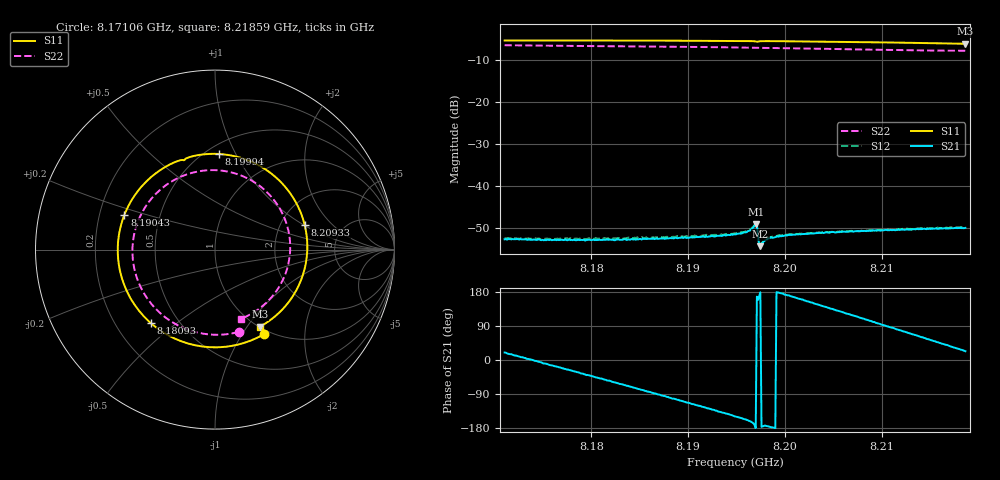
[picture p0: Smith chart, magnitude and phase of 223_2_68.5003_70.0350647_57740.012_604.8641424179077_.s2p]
#  HZ  S  RI  R  50.00
! Rohde & Schwarz Vector Network Analyzer
! Rohde-Schwarz,ZNB20-2Port,1311601062101988,3.16
! Created: UTC 3/20/2024, 4:58:37 PM
! freq[Hz]  re:S11  im:S11  re:S21  im:S21  re:S12  im:S12  re:S22  im:S22
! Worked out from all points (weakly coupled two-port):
!   401 points, 8.17106 GHz to 8.21859 GHz, reference 50 ohm
!   highest |S21| = -49.13 dB at 8.19697 GHz (marker M1); lowest = -54.4 dB at 8.19744 GHz (marker M2)
!   lowest |S11| = -6.1 dB at 8.21859 GHz (marker M3), VSWR 2.98, Z = 50.3 - j57.4 ohm
!   |S11| at or under -10 dB: nowhere
!   |S22| runs from -7.7 to -6.4 dB; largest |S21 - S12| = 0.0002
!   S11 on the Smith chart (normalised r, x): 8.17106 GHz: 0.94, -1.26; 8.18093 GHz: 0.35, -0.41; 8.19043 GHz: 0.31, +0.17; 8.19994 GHz: 0.57, +0.86; 8.20933 GHz: 2.72, +1.02; 8.21859 GHz: 1.01, -1.15
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8.171064e9  0.2744 -0.4701  0.00216 0.000772  0.0022 0.000796  0.1313 -0.4593
8.175104e9  0.012 -0.5444  0.0022 -0.000351  0.00229 -0.000351  -0.098 -0.4619
8.179025e9  -0.248 -0.4841  0.00183 -0.00131  0.00189 -0.00137  -0.2946 -0.3633
8.180926e9  -0.3564 -0.4106  0.00148 -0.0017  0.00151 -0.0018  -0.3676 -0.2858
8.184135e9  -0.4898 -0.2341  0.000756 -0.00218  0.000731 -0.00227  -0.4448 -0.1256
8.186986e9  -0.5403 -0.043  -4.55e-05 -0.00232  -0.000121 -0.00243  -0.4584 0.0316
8.190432e9  -0.5049 0.1935  -0.00107 -0.00216  -0.00117 -0.0022  -0.4027 0.2132
8.192571e9  -0.4316 0.3239  -0.00165 -0.00188  -0.00176 -0.00188  -0.3316 0.3087
8.194829e9  -0.3178 0.4341  -0.00225 -0.00136  -0.00234 -0.00133  -0.232 0.3852
8.195898e9  -0.253 0.4738  -0.00255 -0.00112  -0.00265 -0.00102  -0.178 0.4113
8.196849e9  -0.1879 0.4989  -0.0033 -0.000476  -0.00342 -0.000363  -0.1272 0.428
8.196968e9  -0.179 0.4993  -0.0035 -1.88e-05  -0.00354 8.24e-05  -0.1206 0.4297
8.197443e9  -0.1572 0.5096  -0.0019 4.06e-05  -0.00194 0.000138  -0.0948 0.4353
8.197562e9  -0.1487 0.5131  -0.00197 -0.000125  -0.00205 -4.31e-05  -0.088 0.4366
8.198513e9  -0.081 0.5284  -0.0024 -0.000115  -0.00243 -4.24e-05  -0.0348 0.4425
8.199939e9  0.0199 0.5329  -0.00252 0.000326  -0.00252 0.000412  0.0463 0.4386
8.20279e9  0.2143 0.4843  -0.00235 0.00129  -0.00232 0.00142  0.2001 0.387
8.206236e9  0.404 0.3338  -0.00156 0.00234  -0.00148 0.00239  0.3462 0.2519
8.209326e9  0.4996 0.1374  -0.000428 0.0029  -0.000374 0.00291  0.4136 0.0821
8.210752e9  0.5138 0.0365  0.000163 0.00293  0.000194 0.00296  0.4187 -0.00409
8.214435e9  0.4571 -0.2189  0.00163 0.00258  0.00175 0.00257  0.3503 -0.2189
8.218594e9  0.2492 -0.4299  0.00288 0.00123  0.00296 0.0012  0.146 -0.3841
